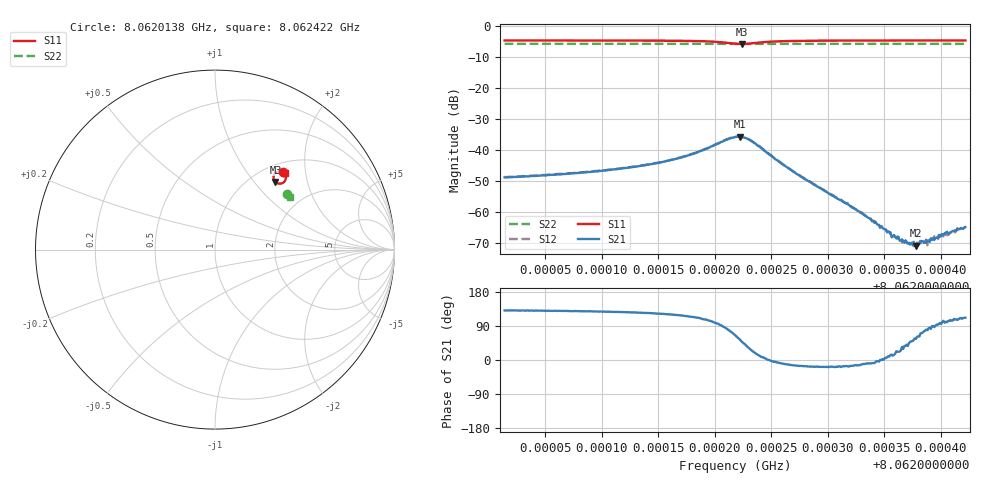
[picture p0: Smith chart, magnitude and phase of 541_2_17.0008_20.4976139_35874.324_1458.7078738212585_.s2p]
#  HZ  S  RI  R  50.00
! Rohde & Schwarz Vector Network Analyzer
! Rohde-Schwarz,ZNB20-2Port,1311601062101988,3.16
! Created: UTC 3/20/2024, 11:16:18 PM
! freq[Hz]  re:S11  im:S11  re:S21  im:S21  re:S12  im:S12  re:S22  im:S22
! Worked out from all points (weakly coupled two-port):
!   401 points, 8.0620138 GHz to 8.062422 GHz, reference 50 ohm
!   highest |S21| = -35.82 dB at 8.062222 GHz (marker M1); lowest = -71.0 dB at 8.0623781 GHz (marker M2)
!   lowest |S11| = -5.9 dB at 8.062224 GHz (marker M3), VSWR 3.04, Z = 64 + j64.7 ohm
!   |S11| at or under -10 dB: nowhere
!   |S22| runs from -5.9 to -5.9 dB; largest |S21 - S12| = 0.0011
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8.06201378e9  0.3779 0.4348  -0.00233 0.00269  -0.00221 0.00285  0.4034 0.3106
8.06208215e9  0.3837 0.429  -0.00265 0.00334  -0.0025 0.00349  0.4059 0.3071
8.06211481e9  0.3869 0.425  -0.00291 0.00392  -0.00271 0.00411  0.407 0.3052
8.06215053e9  0.3914 0.4178  -0.00328 0.00517  -0.00298 0.00542  0.4084 0.3032
8.06218318e9  0.3949 0.4029  -0.00333 0.00819  -0.00286 0.00845  0.4094 0.3009
8.06220359e9  0.3877 0.3806  -0.000998 0.0126  -0.000228 0.0128  0.4094 0.2991
8.06221788e9  0.3556 0.3675  0.00649 0.0145  0.00744 0.0143  0.4082 0.2984
8.06222196e9  0.3426 0.3721  0.00936 0.0132  0.0102 0.0126  0.408 0.2984
8.062224e9  0.3368 0.3765  0.0106 0.0118  0.0113 0.0115  0.4079 0.2986
8.06223421e9  0.3263 0.4068  0.0122 0.00479  0.0125 0.00429  0.4081 0.2996
8.06226074e9  0.3538 0.4356  0.00558 -0.000958  0.00557 -0.00136  0.4107 0.2992
8.06228626e9  0.3682 0.4354  0.00272 -0.000854  0.00271 -0.00102  0.4121 0.2978
8.06232912e9  0.379 0.4315  0.000935 -0.000215  0.000943 -0.00027  0.4139 0.2955
8.06235463e9  0.3827 0.4292  0.000464 7.65e-05  0.000457 6.19e-05  0.4149 0.2941
8.06236586e9  0.384 0.4284  0.000294 0.000203  0.000287 0.000137  0.4153 0.2936
8.062373e9  0.3849 0.4278  0.000198 0.000218  0.00022 0.00021  0.4155 0.2931
8.0623781e9  0.3854 0.4275  0.00016 0.000233  0.000149 0.000233  0.4157 0.2928
8.06238525e9  0.3861 0.427  7.87e-05 0.000303  0.000136 0.000326  0.4159 0.2924
8.06239035e9  0.3866 0.4266  2.62e-05 0.000321  5.79e-05 0.000345  0.4161 0.2922
8.06239341e9  0.387 0.4263  1.58e-06 0.000374  4.16e-05 0.000362  0.4163 0.292
8.06240362e9  0.3879 0.4257  -6.7e-05 0.000445  -7.39e-05 0.000449  0.4165 0.2914
8.06242198e9  0.3896 0.4244  -0.000208 0.000524  -0.00019 0.00053  0.4172 0.2905
